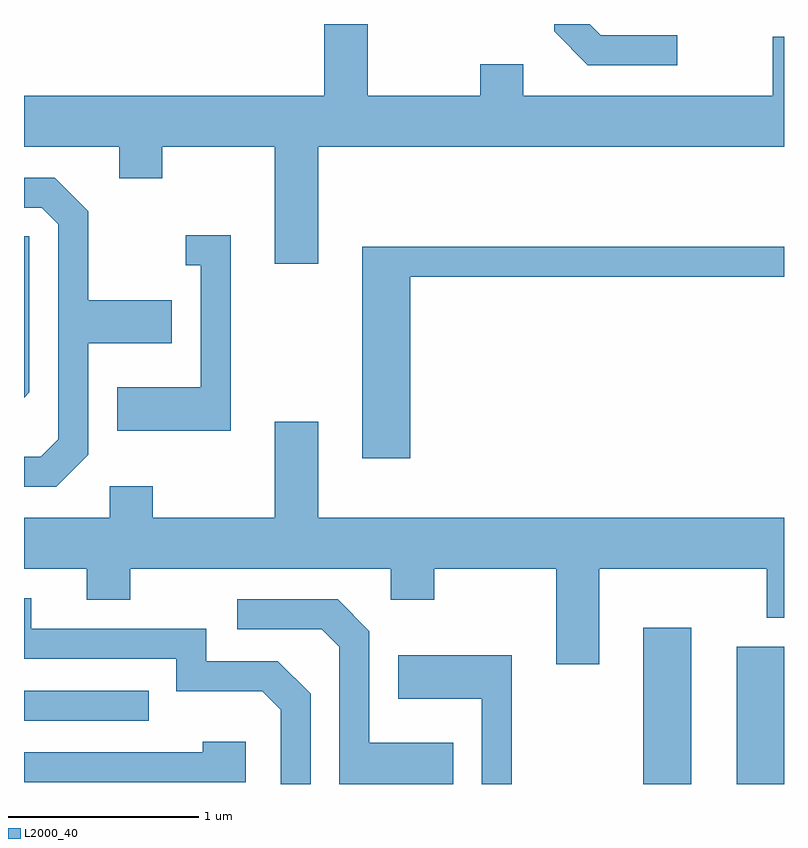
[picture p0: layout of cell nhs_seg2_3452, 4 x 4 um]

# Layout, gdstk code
import gdstk
lib = gdstk.Library(unit=1e-6, precision=1e-09)
def R(c, l, rs):  # rectangles x0, y0, x1, y1
    for r in rs: c.add(gdstk.rectangle(r[:2], r[2:], *l))
def P(c, l, *ps):  # polygons
    for p in ps: c.add(gdstk.Polygon(p, *l))
L2000_40 = (2000, 40)

nhs_seg2_3452 = lib.new_cell('nhs_seg2_3452')
R(nhs_seg2_3452, L2000_40, [(288.871,1093.802,289.124,1094.624), (289.361,1093.802,289.611,1094.524), (285.611,1094.136,286.268,1094.294)])
P(nhs_seg2_3452, L2000_40, [(287.159,1097.156),(289.611,1097.156),(289.611,1097.734),(289.551,1097.734),(289.551,1097.424),(288.239,1097.424),(288.239,1097.589),(288.011,1097.589),(288.011,1097.424),(287.419,1097.424),(287.419,1097.802),(287.191,1097.802),(287.191,1097.424),(285.611,1097.424),(285.611,1097.156),(286.111,1097.156),(286.111,1096.991),(286.339,1096.991),(286.339,1097.156),(286.931,1097.156),(286.931,1096.541),(287.159,1096.541)],
  [(289.048,1097.744),(288.647,1097.744),(288.589,1097.802),(288.401,1097.802),(288.401,1097.764),(288.579,1097.586),(289.048,1097.586)],
  [(285.949,1095.534),(285.949,1096.121),(286.389,1096.121),(286.389,1096.349),(285.949,1096.349),(285.949,1096.817),(285.772,1096.994),(285.611,1096.994),(285.611,1096.836),(285.704,1096.836),(285.791,1096.749),(285.791,1095.617),(285.699,1095.524),(285.611,1095.524),(285.611,1095.366),(285.782,1095.366)],
  [(286.699,1096.689),(286.463,1096.689),(286.463,1096.531),(286.541,1096.531),(286.541,1095.889),(286.101,1095.889),(286.101,1095.661),(286.699,1095.661)],
  [(285.639,1095.864),(285.639,1096.684),(285.611,1096.684),(285.611,1095.836)],
  [(287.644,1096.471),(289.611,1096.471),(289.611,1096.629),(287.391,1096.629),(287.391,1095.516),(287.644,1095.516)],
  [(288.639,1094.936),(289.521,1094.936),(289.521,1094.676),(289.611,1094.676),(289.611,1095.204),(287.159,1095.204),(287.159,1095.709),(286.931,1095.709),(286.931,1095.204),(286.289,1095.204),(286.289,1095.369),(286.061,1095.369),(286.061,1095.204),(285.611,1095.204),(285.611,1094.936),(285.941,1094.936),(285.941,1094.771),(286.169,1094.771),(286.169,1094.936),(287.541,1094.936),(287.541,1094.771),(287.769,1094.771),(287.769,1094.936),(288.411,1094.936),(288.411,1094.431),(288.639,1094.431)],
  [(287.119,1094.277),(286.947,1094.449),(286.569,1094.449),(286.569,1094.619),(285.649,1094.619),(285.649,1094.779),(285.611,1094.779),(285.611,1094.461),(286.411,1094.461),(286.411,1094.291),(286.864,1094.291),(286.961,1094.194),(286.961,1093.802),(287.119,1093.802)],
  [(287.869,1094.019),(287.429,1094.019),(287.429,1094.607),(287.262,1094.774),(286.733,1094.774),(286.733,1094.616),(287.179,1094.616),(287.271,1094.524),(287.271,1093.802),(287.869,1093.802)],
  [(288.179,1094.479),(287.581,1094.479),(287.581,1094.251),(288.021,1094.251),(288.021,1093.802),(288.179,1093.802)],
  [(286.779,1094.024),(286.551,1094.024),(286.551,1093.969),(285.611,1093.969),(285.611,1093.811),(286.779,1093.811)])

lib.write_gds('nhs_seg2_3452.gds')
